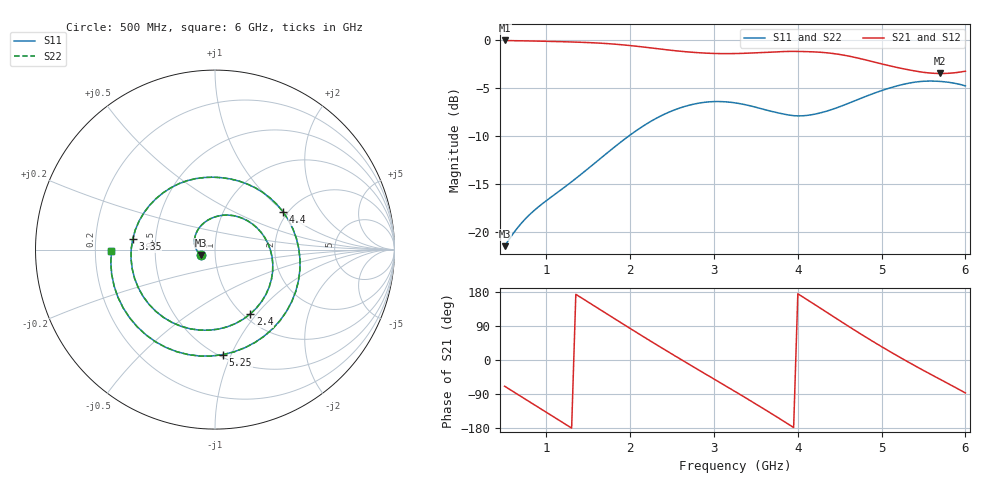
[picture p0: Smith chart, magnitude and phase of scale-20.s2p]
! Touchstone file from project sampleWidthScale-20
! Exported from HFSS-IE 2014.0.2
! Variables:
!  $perm = 6
!  impedance = 157.9ohm
!  insulationThickness = 0in
!  length = 4in
!  portSize = 1mm
!  sampleSide = 2.5in
!  sampleThickness = 0.25in
!  scale = 20
!  spacing = 0.25in
!  wireDiam = 0.125in
!  wireRadius = 0.0625in
# GHZ S MA R 157.900000
! Terminal data exported
! Port[1] = Rectangle2_T1
! Port[2] = Rectangle2_T2
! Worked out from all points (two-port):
!   111 points, 500 MHz to 6 GHz, reference 157.9 ohm
!   highest |S21| = -0.04 dB at 500 MHz (marker M1); lowest = -3.5 dB at 5.7 GHz (marker M2)
!   |S21| within 3 dB of the highest: start of sweep to 5.285 GHz
!   lowest |S11| = -21.5 dB at 500 MHz (marker M3), VSWR 1.18, Z = 135 - j8.01 ohm
!   |S11| at or under -10 dB: start of sweep to 1.984 GHz
!   |S22| runs from -21.5 to -4.3 dB; largest |S21 - S12| = 1.7e-14
!   S11 on the Smith chart (normalised r, x): 500 MHz: 0.85, -0.05; 2.4 GHz: 1.08, -0.93; 3.35 GHz: 0.37, +0.05; 4.4 GHz: 1.89, +0.98; 5.25 GHz: 0.52, -0.93; 6 GHz: 0.27, -0.01
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0.5  0.08409 -159.4  0.9958 -69.2  0.9958 -69.2  0.08409 -159.4
0.75  0.117 165.8  0.9908 -103.7  0.9908 -103.7  0.1166 165.8
1.05  0.151 124.4  0.9844 -145.2  0.9844 -145.2  0.151 124.5
1.25  0.1754 96.8  0.9793 -172.8  0.9793 -172.8  0.1752 97.0
1.45  0.2056 69.2  0.9727 159.4  0.9727 159.4  0.2054 69.4
1.7  0.2526 34.5  0.9604 124.6  0.9604 124.6  0.2525 34.5
1.9  0.2968 6.8  0.9454 96.9  0.9454 96.9  0.2966 6.8
2.1  0.3435 -20.7  0.9262 69.3  0.9262 69.3  0.3432 -20.7
2.35  0.3991 -54.5  0.8992 35.4  0.8992 35.4  0.3988 -54.6
2.4  0.4091 -61.2  0.8939 28.7  0.8939 28.7  0.4089 -61.3
2.8  0.4674 -114.0  0.8603 -24.2  0.8603 -24.2  0.4673 -114.1
3.25  0.4705 -173.7  0.8509 -83.1  0.8509 -83.1  0.4705 -173.7
3.35  0.4624 172.9  0.8532 -96.3  0.8532 -96.3  0.4623 172.9
3.8  0.414 111.9  0.8702 -157.2  0.8702 -157.2  0.4141 111.9
4  0.4023 84.8  0.8727 174.7  0.8727 174.7  0.4025 84.8
4.2  0.4106 57.3  0.8675 146.6  0.8675 146.6  0.4109 57.3
4.4  0.4335 28.9  0.8534 118.1  0.8534 118.1  0.4338 29.0
4.7  0.4863 -13.5  0.8089 75.7  0.8089 75.7  0.4867 -13.6
5.1  0.563 -66.7  0.7337 22.2  0.7337 22.2  0.5639 -66.8
5.25  0.5864 -85.6  0.71 3.1  0.71 3.1  0.5869 -85.6
5.7  0.6087 -141.4  0.6696 -51.2  0.6696 -51.2  0.6089 -141.5
6  0.5768 -179.3  0.6883 -87.0  0.6883 -87.0  0.5767 -179.3
